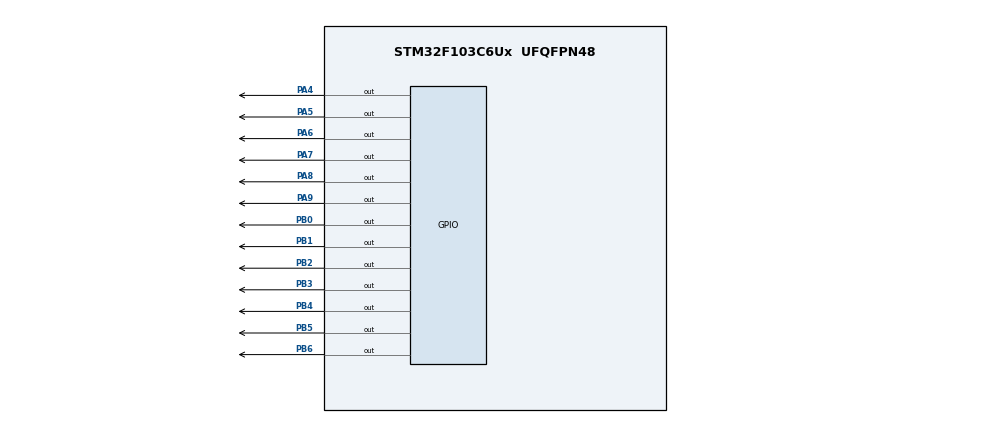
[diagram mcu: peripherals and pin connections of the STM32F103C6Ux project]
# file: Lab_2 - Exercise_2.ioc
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Mcu.Family=STM32F1
Mcu.Name=STM32F103C6Ux
Mcu.Package=UFQFPN48
NVIC.PriorityGroup=NVIC_PRIORITYGROUP_4
NVIC.TIM2_IRQn=true\:0\:0\:false\:false\:true\:true\:true
PA4.Signal=GPIO_Output
PA5.Signal=GPIO_Output
PA6.Signal=GPIO_Output
PA7.Signal=GPIO_Output
PA8.Signal=GPIO_Output
PA9.Signal=GPIO_Output
PB0.Signal=GPIO_Output
PB1.Signal=GPIO_Output
PB2.Signal=GPIO_Output
PB3.Signal=GPIO_Output
PB4.Signal=GPIO_Output
PB5.Signal=GPIO_Output
PB6.Signal=GPIO_Output
ProjectManager.HeapSize=0x200
ProjectManager.StackSize=0x400
ProjectManager.TargetToolchain=STM32CubeIDE
RCC.APB1Freq_Value=8000000
RCC.APB2Freq_Value=8000000
TIM2.Period=9
TIM2.Prescaler=7999
VP_SYS_VS_ND.Mode=No_Debug
VP_TIM2_VS_ClockSourceINT.Mode=Internal
board=custom

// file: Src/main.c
/* USER CODE BEGIN Header */
/**
  ******************************************************************************
  * @file           : main.c
  * @brief          : Main program body
  ******************************************************************************
  * @attention
  *
  * <h2><center>&copy; Copyright (c) 2025 STMicroelectronics.
  * All rights reserved.</center></h2>
  *
  * This software component is licensed by ST under BSD 3-Clause license,
  * the "License"; You may not use this file except in compliance with the
  * License. You may obtain a copy of the License at:
  *                        opensource.org/licenses/BSD-3-Clause
  *
  ******************************************************************************
  */
/* USER CODE END Header */
#include "main.h"

TIM_HandleTypeDef htim2;

void SystemClock_Config(void);
static void MX_GPIO_Init(void);
static void MX_TIM2_Init(void);

/* USER CODE BEGIN 0 */
uint8_t seg_digits[10] = {
	0b11000000, //0
	0b11111001, //1
	0b10100100, //2
	0b10110000, //3
	0b10011001, //4
	0b10010010, //5
	0b10000010, //6
	0b11111000, //7
	0b10000000, //8
	0b10010000  //9
};

void display7SEG(int firstPin, int num){
	if ( num > 9 ) return;
	uint8_t pattern = seg_digits[num];

	for ( int i = 0; i < 7; i++){
		HAL_GPIO_WritePin(GPIOB, firstPin << i, (pattern & (1 << i)) ? GPIO_PIN_SET : GPIO_PIN_RESET);
	}
}
/* USER CODE END 0 */

int main(void)
{

  /* MCU Configuration--------------------------------------------------------*/

  /* Reset of all peripherals, Initializes the Flash interface and the Systick. */
  HAL_Init();

  /* Configure the system clock */
  SystemClock_Config();

  /* Initialize all configured peripherals */
  MX_GPIO_Init();
  MX_TIM2_Init();
  /* USER CODE BEGIN 2 */
  HAL_TIM_Base_Start_IT(&htim2);
  /* USER CODE END 2 */

  /* Infinite loop */
  while (1)
  {

  }
}

void SystemClock_Config(void)
{
  RCC_OscInitTypeDef RCC_OscInitStruct = {0};
  RCC_ClkInitTypeDef RCC_ClkInitStruct = {0};

  /** Initializes the RCC Oscillators according to the specified parameters
  * in the RCC_OscInitTypeDef structure.
  */
  RCC_OscInitStruct.OscillatorType = RCC_OSCILLATORTYPE_HSI;
  RCC_OscInitStruct.HSIState = RCC_HSI_ON;
  RCC_OscInitStruct.HSICalibrationValue = RCC_HSICALIBRATION_DEFAULT;
  RCC_OscInitStruct.PLL.PLLState = RCC_PLL_NONE;
  if (HAL_RCC_OscConfig(&RCC_OscInitStruct) != HAL_OK)
  {
    Error_Handler();
  }
  /** Initializes the CPU, AHB and APB buses clocks
  */
  RCC_ClkInitStruct.ClockType = RCC_CLOCKTYPE_HCLK|RCC_CLOCKTYPE_SYSCLK
                              |RCC_CLOCKTYPE_PCLK1|RCC_CLOCKTYPE_PCLK2;
  RCC_ClkInitStruct.SYSCLKSource = RCC_SYSCLKSOURCE_HSI;
  RCC_ClkInitStruct.AHBCLKDivider = RCC_SYSCLK_DIV1;
  RCC_ClkInitStruct.APB1CLKDivider = RCC_HCLK_DIV1;
  RCC_ClkInitStruct.APB2CLKDivider = RCC_HCLK_DIV1;

  if (HAL_RCC_ClockConfig(&RCC_ClkInitStruct, FLASH_LATENCY_0) != HAL_OK)
  {
    Error_Handler();
  }
}

static void MX_TIM2_Init(void)
{

  TIM_ClockConfigTypeDef sClockSourceConfig = {0};
  TIM_MasterConfigTypeDef sMasterConfig = {0};

  htim2.Instance = TIM2;
  htim2.Init.Prescaler = 7999;
  htim2.Init.CounterMode = TIM_COUNTERMODE_UP;
  htim2.Init.Period = 9;
  htim2.Init.ClockDivision = TIM_CLOCKDIVISION_DIV1;
  htim2.Init.AutoReloadPreload = TIM_AUTORELOAD_PRELOAD_DISABLE;
  if (HAL_TIM_Base_Init(&htim2) != HAL_OK)
  {
    Error_Handler();
  }
  sClockSourceConfig.ClockSource = TIM_CLOCKSOURCE_INTERNAL;
  if (HAL_TIM_ConfigClockSource(&htim2, &sClockSourceConfig) != HAL_OK)
  {
    Error_Handler();
  }
  sMasterConfig.MasterOutputTrigger = TIM_TRGO_RESET;
  sMasterConfig.MasterSlaveMode = TIM_MASTERSLAVEMODE_DISABLE;
  if (HAL_TIMEx_MasterConfigSynchronization(&htim2, &sMasterConfig) != HAL_OK)
  {
    Error_Handler();
  }

}

static void MX_GPIO_Init(void)
{
  GPIO_InitTypeDef GPIO_InitStruct = {0};

  /* GPIO Ports Clock Enable */
  __HAL_RCC_GPIOA_CLK_ENABLE();
  __HAL_RCC_GPIOB_CLK_ENABLE();

  /*Configure GPIO pin Output Level */
  HAL_GPIO_WritePin(GPIOA, GPIO_PIN_4|GPIO_PIN_5|GPIO_PIN_6|GPIO_PIN_7
                          |GPIO_PIN_8|GPIO_PIN_9, GPIO_PIN_RESET);

  /*Configure GPIO pin Output Level */
  HAL_GPIO_WritePin(GPIOB, GPIO_PIN_0|GPIO_PIN_1|GPIO_PIN_2|GPIO_PIN_3
                          |GPIO_PIN_4|GPIO_PIN_5|GPIO_PIN_6, GPIO_PIN_RESET);

  /*Configure GPIO pins : PA4 PA5 PA6 PA7
                           PA8 PA9 */
  GPIO_InitStruct.Pin = GPIO_PIN_4|GPIO_PIN_5|GPIO_PIN_6|GPIO_PIN_7
                          |GPIO_PIN_8|GPIO_PIN_9;
  GPIO_InitStruct.Mode = GPIO_MODE_OUTPUT_PP;
  GPIO_InitStruct.Pull = GPIO_NOPULL;
  GPIO_InitStruct.Speed = GPIO_SPEED_FREQ_LOW;
  HAL_GPIO_Init(GPIOA, &GPIO_InitStruct);

  /*Configure GPIO pins : PB0 PB1 PB2 PB3
                           PB4 PB5 PB6 */
  GPIO_InitStruct.Pin = GPIO_PIN_0|GPIO_PIN_1|GPIO_PIN_2|GPIO_PIN_3
                          |GPIO_PIN_4|GPIO_PIN_5|GPIO_PIN_6;
  GPIO_InitStruct.Mode = GPIO_MODE_OUTPUT_PP;
  GPIO_InitStruct.Pull = GPIO_NOPULL;
  GPIO_InitStruct.Speed = GPIO_SPEED_FREQ_LOW;
  HAL_GPIO_Init(GPIOB, &GPIO_InitStruct);

}

/* USER CODE BEGIN 4 */
int currentDisplay = 3;
int counter = 0;
int digitCounter = 0;
int dotCounter = 0;

void HAL_TIM_PeriodElapsedCallback(TIM_HandleTypeDef *htim){
	if (htim->Instance == TIM2){

		counter++;
		if (counter >= 100){
			counter = 0;
			HAL_GPIO_TogglePin(GPIOA, GPIO_PIN_5);
		}

		dotCounter++;
		if (dotCounter >= 100){
			dotCounter = 0;
			HAL_GPIO_TogglePin(GPIOA, GPIO_PIN_4);
		}

		digitCounter++;
		if (digitCounter >= 50){
			digitCounter = 0;

			switch (currentDisplay){
			case 0:
				HAL_GPIO_WritePin(GPIOA, GPIO_PIN_6, GPIO_PIN_RESET);
				HAL_GPIO_WritePin(GPIOA, GPIO_PIN_7, GPIO_PIN_SET);
				HAL_GPIO_WritePin(GPIOA, GPIO_PIN_8, GPIO_PIN_SET);
				HAL_GPIO_WritePin(GPIOA, GPIO_PIN_9, GPIO_PIN_SET);

				display7SEG(GPIO_PIN_0, 1);
				currentDisplay = 1;
				break;
			case 1:
				HAL_GPIO_WritePin(GPIOA, GPIO_PIN_6, GPIO_PIN_SET);
				HAL_GPIO_WritePin(GPIOA, GPIO_PIN_7, GPIO_PIN_RESET);
				HAL_GPIO_WritePin(GPIOA, GPIO_PIN_8, GPIO_PIN_SET);
				HAL_GPIO_WritePin(GPIOA, GPIO_PIN_9, GPIO_PIN_SET);

				display7SEG(GPIO_PIN_0, 2);
				currentDisplay = 2;
				break;
			case 2:
				HAL_GPIO_WritePin(GPIOA, GPIO_PIN_6, GPIO_PIN_SET);
				HAL_GPIO_WritePin(GPIOA, GPIO_PIN_7, GPIO_PIN_SET);
				HAL_GPIO_WritePin(GPIOA, GPIO_PIN_8, GPIO_PIN_RESET);
				HAL_GPIO_WritePin(GPIOA, GPIO_PIN_9, GPIO_PIN_SET);

				display7SEG(GPIO_PIN_0, 3);
				currentDisplay = 3;
				break;
			case 3:
				HAL_GPIO_WritePin(GPIOA, GPIO_PIN_6, GPIO_PIN_SET);
				HAL_GPIO_WritePin(GPIOA, GPIO_PIN_7, GPIO_PIN_SET);
				HAL_GPIO_WritePin(GPIOA, GPIO_PIN_8, GPIO_PIN_SET);
				HAL_GPIO_WritePin(GPIOA, GPIO_PIN_9, GPIO_PIN_RESET);

				display7SEG(GPIO_PIN_0, 0);
				currentDisplay = 0;
				break;
			}
		}
	}
}
/* USER CODE END 4 */

void Error_Handler(void)
{
  __disable_irq();
  while (1)
  {
  }
}

/************************ (C) COPYRIGHT STMicroelectronics *****END OF FILE****/
